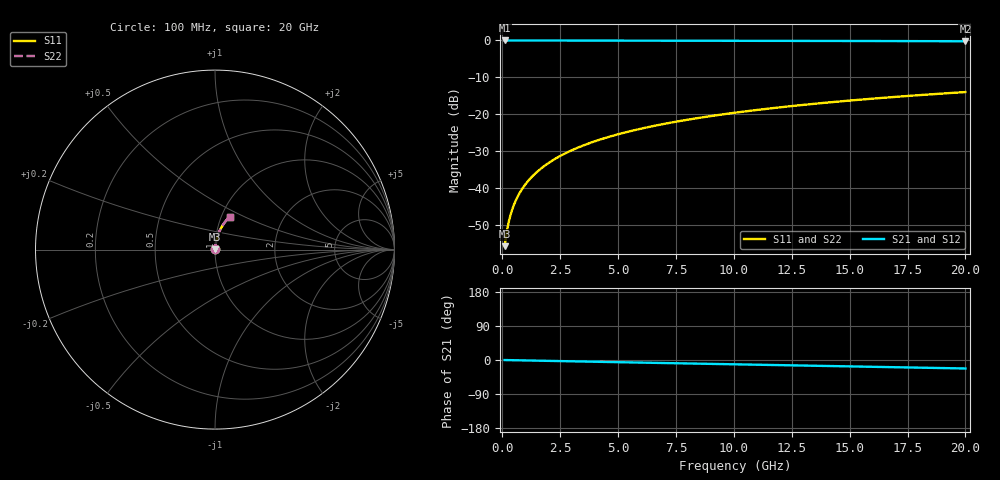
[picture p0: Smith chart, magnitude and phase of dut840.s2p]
! Touchstone file exported from HFSS 2026.1.0
!  File:  C:/ffzhzh/LocalFiles/Ansys_Project_Files/temp_train_TMRDL_840_1783156797_55132.aedt
!  Generated:  05:21:10 PM Jul  4, 2026
!  Design:  TMRDL
!  Project:  temp_train_TMRDL_840_1783156797_55132
! Variables:
!  h_bsmrdl = 2um
!  h_ox = 20um
!  h_rdl = 5um
!  h_sub = 80um
!  h_tmrdl = 4.34um
!  h_tsv = 80um
!  h_via = 3um
!  l_bsmrdl = 300um
!  l_sub = 704.34um
!  l_tmrdl = 304.34um
!  m_sub = 200um
!  pitch = 52.12um
!  r_tsv = 6um
!  s_tmrdl = 10um
!  w_bsmrdl = 18um
!  w_sub = 500um
!  w_tmrdl = 27.06um
!  x_tsv_center1 = 317.87um
!  x_tsv_center2 = 635.87um
!  x_tsv_center3 = 967.27um
!  x_tsv_center4 = 1285.27um
!  x_tsv_center5 = 1616.67um
!  x_tsv_center6 = 1934.67um
# GHz S MA R 50.000000
! Terminal data exported
! Port[1] = TM_RDL1_1_T1
! Port[2] = TM_RDL1_1_T2
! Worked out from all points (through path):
!   200 points, 100 MHz to 20 GHz, reference 50 ohm
!   highest |S21| = -0.01 dB at 100 MHz (marker M1); lowest = -0.2 dB at 20 GHz (marker M2)
!   group delay of S21, straight-line fit = 3.1 ps
!   lowest |S11| = -55.6 dB at 100 MHz (marker M3), VSWR 1.00, Z = 50.1 + j0.121 ohm
!   |S11| at or under -10 dB: start of sweep to end of sweep
!   |S22| runs from -55.6 to -14.0 dB; largest |S21 - S12| = 3.4e-15
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0.1  0.001655 47.0  0.9989 -0.1  0.9989 -0.1  0.001655 47.0
! Gamma 0 0 0 0
! Port Impedance 50 0 50 0
0.2  0.002678 63.8  0.9988 -0.2  0.9988 -0.2  0.002678 63.8
0.3  0.00378 70.6  0.9987 -0.4  0.9987 -0.4  0.00378 70.6
0.4  0.004886 74.1  0.9987 -0.5  0.9987 -0.5  0.004886 74.1
0.5  0.005981 76.3  0.9986 -0.6  0.9986 -0.6  0.005982 76.3
0.7  0.008143 78.9  0.9985 -0.8  0.9985 -0.8  0.008143 78.9
0.8  0.009216 79.8  0.9985 -0.9  0.9985 -0.9  0.009216 79.8
1  0.01136 81.0  0.9985 -1.2  0.9985 -1.2  0.01136 81.0
1.2  0.01349 81.8  0.9984 -1.4  0.9984 -1.4  0.01349 81.8
1.4  0.01563 82.4  0.9983 -1.6  0.9983 -1.6  0.01563 82.4
1.7  0.01885 82.8  0.9982 -2.0  0.9982 -2.0  0.01885 82.8
2  0.02206 83.0  0.9981 -2.3  0.9981 -2.3  0.02206 83.0
2.7  0.02955 83.0  0.9977 -3.1  0.9977 -3.1  0.02955 83.0
3.5  0.03806 82.6  0.9971 -4.1  0.9971 -4.1  0.03806 82.6
4.2  0.04546 82.1  0.9965 -4.9  0.9965 -4.9  0.04546 82.1
5  0.05384 81.4  0.9958 -5.8  0.9958 -5.8  0.05384 81.4
6.8  0.07248 79.6  0.9941 -7.8  0.9941 -7.8  0.07248 79.6
8.3  0.08778 78.1  0.9924 -9.5  0.9924 -9.5  0.08778 78.1
10.1  0.1059 76.3  0.9902 -11.5  0.9902 -11.5  0.1059 76.3
13.4  0.1384 72.9  0.9856 -15.2  0.9856 -15.2  0.1384 72.9
16.7  0.17 69.4  0.9802 -18.8  0.9802 -18.8  0.17 69.4
20  0.2004 66.0  0.974 -22.4  0.974 -22.4  0.2004 66.0
